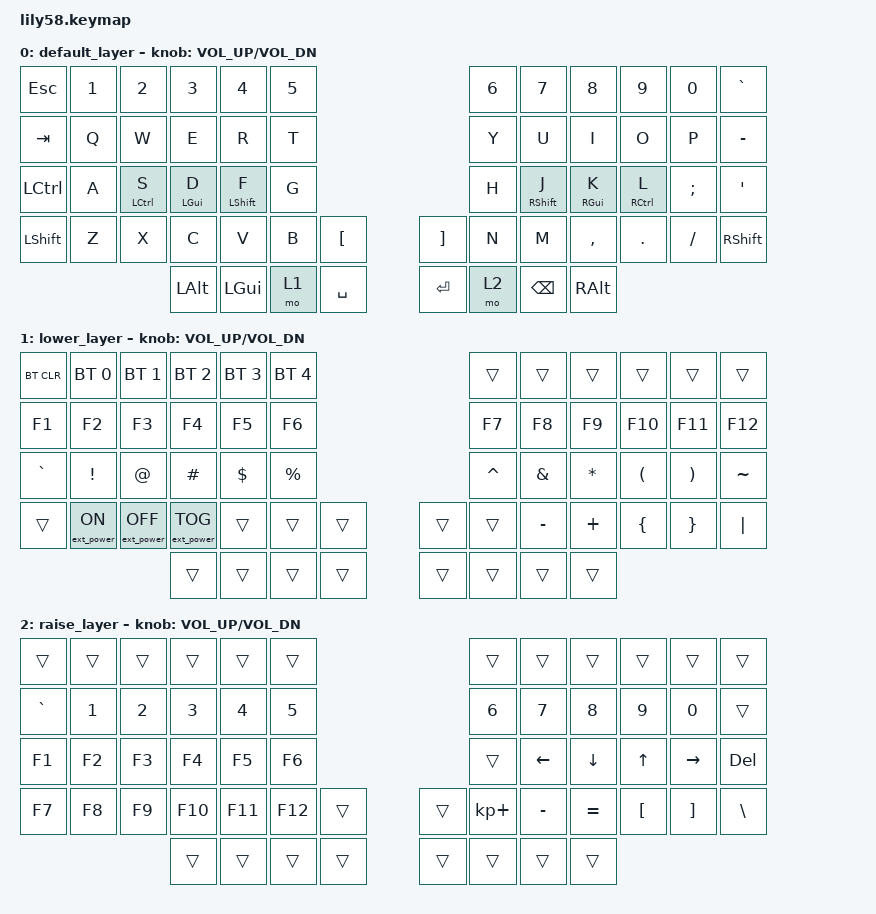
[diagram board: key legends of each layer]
/*
 * Copyright (c) 2020 The ZMK Contributors
 *
 * SPDX-License-Identifier: MIT
 */

#include <behaviors.dtsi>
#include <dt-bindings/zmk/keys.h>
#include <dt-bindings/zmk/bt.h>
#include <dt-bindings/zmk/ext_power.h>

/ {
    behaviors {
        hta: hold_tap_alt {
            compatible = "zmk,behavior-hold-tap";
            #binding-cells = <2>;
            flavor = "tap-preferred";
            tapping-term-ms = <240>;
            quick-tap-ms = <0>;
            bindings = <&kp>, <&kp>;
			display-name = "Hold-Tap";
         };
        ht: hold_tap {
            compatible = "zmk,behavior-hold-tap";
            #binding-cells = <2>;
            flavor = "tap-preferred";
            tapping-term-ms = <150>;
            quick-tap-ms = <0>;
            bindings = <&kp>, <&kp>;
			display-name = "Hold-Tap";
         };
    };
    keymap {
        compatible = "zmk,keymap";

        default_layer {
// ------------------------------------------------------------------------------------------------------------
// |  ESC  |  1  |  2  |  3   |  4   |  5   |                   |  6   |  7    |  8    |  9   |   0   |   `   |
// |  TAB  |  Q  |  W  |  E   |  R   |  T   |                   |  Y   |  U    |  I    |  O   |   P   |   -   |
// |  CTRL |  A  |  S  |  D   |  F   |  G   |                   |  H   |  J    |  K    |  L   |   ;   |   '   |
// | SHIFT |  Z  |  X  |  C   |  V   |  B   |   "["  |  |  "]"  |  N   |  M    |  ,    |  .   |   /   | SHIFT |
//                     | ALT  | GUI  | LOWER|  SPACE |  | ENTER | RAISE| BSPC  | GUI   |
            bindings = <
&kp ESC   &kp N1 &kp N2 &kp N3   &kp N4   &kp N5                     &kp N6 &kp N7   &kp N8    &kp N9  &kp N0   &kp GRAVE
&kp TAB   &kp Q  &kp W  &kp E    &kp R    &kp T                      &kp Y  &kp U    &kp I     &kp O   &kp P    &kp MINUS
&kp LCTRL  &kp A  &hta LCTRL S  &hta LGUI D    &ht LSHFT F    &kp G                      &kp H  &ht RSHFT J    &hta RGUI K     &hta RCTRL L   &kp SEMI  &kp SQT
&kp LSHFT &kp Z  &kp X  &kp C    &kp V    &kp B  &kp LBKT   &kp RBKT &kp N  &kp M    &kp COMMA &kp DOT &kp FSLH &kp RSHFT
                        &kp LALT &kp LGUI &mo 1  &kp SPACE  &kp RET  &mo 2  &kp BSPC &kp RALT
            >;

            sensor-bindings = <&inc_dec_kp C_VOL_UP C_VOL_DN>;
        };

        lower_layer {
// ------------------------------------------------------------------------------------------------------------
// | BTCLR | BT1 | BT2 |  BT3 |  BT4 |  BT5 |                   |      |       |       |      |       |       |
// |  F1   |  F2 |  F3 |  F4  |  F5  |  F6  |                   |  F7  |  F8   |  F9   |  F10 |  F11  |  F12  |
// |   `   |  !  |  @  |  #   |  $   |  %   |                   |  ^   |  &    |  *    |  (   |   )   |   ~   |
// |       |     |     |      |      |      |        |  |       |      |  _    |  +    |  {   |   }   |  "|"  |
//                     |      |      |      |        |  |       |      |       |       |
            bindings = <
&bt BT_CLR &bt BT_SEL 0     &bt BT_SEL 1      &bt BT_SEL 2      &bt BT_SEL 3 &bt BT_SEL 4                 &trans    &trans    &trans    &trans    &trans    &trans
&kp F1     &kp F2           &kp F3            &kp F4            &kp F5       &kp F6                       &kp F7    &kp F8    &kp F9    &kp F10   &kp F11   &kp F12
&kp GRAVE  &kp EXCL         &kp AT            &kp HASH          &kp DOLLAR   &kp PRCNT                    &kp CARET &kp AMPS  &kp ASTRK &kp LPAR  &kp RPAR  &kp TILDE
&trans     &ext_power EP_ON &ext_power EP_OFF &ext_power EP_TOG &trans       &trans    &trans   &trans    &trans    &kp MINUS &kp PLUS  &kp LBRC  &kp RBRC  &kp PIPE
                                              &trans            &trans       &trans    &trans   &trans    &trans    &trans    &trans
            >;

            sensor-bindings = <&inc_dec_kp C_VOL_UP C_VOL_DN>;
        };

        raise_layer {
// ------------------------------------------------------------------------------------------------------------
// |       |     |     |      |      |      |                   |      |       |       |      |       |       |
// |   `   |  1  |  2  |  3   |  4   |  5   |                   |  6   |   7   |   8   |  9   |   0   |       |
// |   F1  |  F2 |  F3 |  F4  |  F5  |  F6  |                   |      |   <-  |   v   |  ^   |  ->   |       |
// |   F7  |  F8 |  F9 |  F10 |  F11 |  F12 |        |  |       |  +   |   -   |   =   |  [   |   ]   |   \   |
//                     |      |      |      |        |  |       |      |       |       |
            bindings = <
&trans    &trans &trans &trans  &trans  &trans                       &trans      &trans    &trans    &trans   &trans    &trans
&kp GRAVE &kp N1 &kp N2 &kp N3  &kp N4  &kp N5                       &kp N6      &kp N7    &kp N8    &kp N9   &kp N0    &trans
&kp F1    &kp F2 &kp F3 &kp F4  &kp F5  &kp F6                       &trans      &kp LEFT  &kp DOWN  &kp UP   &kp RIGHT &kp DEL
&kp F7    &kp F8 &kp F9 &kp F10 &kp F11 &kp F12   &trans   &trans    &kp KP_PLUS &kp MINUS &kp EQUAL &kp LBKT &kp RBKT  &kp BSLH
                        &trans  &trans  &trans    &trans   &trans    &trans      &trans    &trans
            >;

            sensor-bindings = <&inc_dec_kp C_VOL_UP C_VOL_DN>;
        };
    };
};
